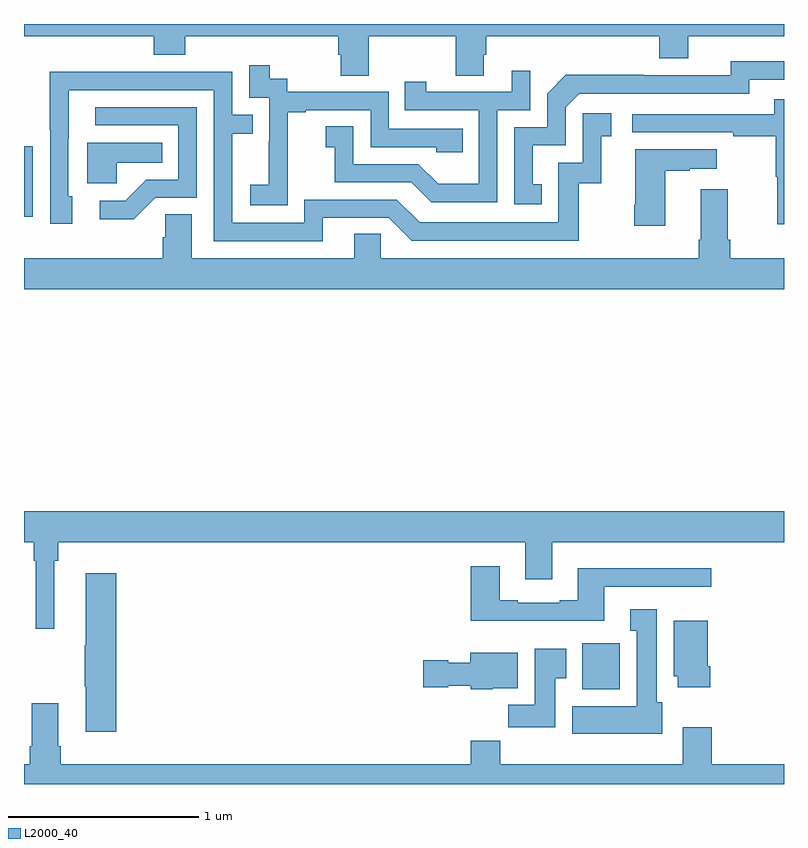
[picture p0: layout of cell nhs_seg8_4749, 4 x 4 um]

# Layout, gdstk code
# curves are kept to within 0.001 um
import gdstk
lib = gdstk.Library(unit=1e-6, precision=1e-09)
def R(c, l, rs):  # rectangles x0, y0, x1, y1
    for r in rs: c.add(gdstk.rectangle(r[:2], r[2:], *l))
def P(c, l, *ps):  # polygons
    for p in ps: c.add(gdstk.Polygon(p, *l))
L2000_40 = (2000, 40)

nhs_seg8_4749 = lib.new_cell('nhs_seg8_4749')
R(nhs_seg8_4749, L2000_40, [(401.939,1110.398,402.136,1110.64), (399,1112.886,399.045,1113.256)])
P(nhs_seg8_4749, L2000_40, [(400.815,1113.836),(401.272,1113.836),(401.272,1113.628),(401.419,1113.628),(401.419,1113.738),(401.432,1113.738),(401.432,1113.836),(402.344,1113.836),(402.344,1113.719),(402.496,1113.719),(402.496,1113.836),(403,1113.836),(403,1113.9),(399,1113.9),(399,1113.836),(399.683,1113.836),(399.683,1113.737),(399.848,1113.737),(399.848,1113.836),(400.655,1113.836),(400.655,1113.738),(400.667,1113.738),(400.667,1113.628),(400.815,1113.628)],
  [(401.726,1113.057),(401.677,1113.057),(401.677,1113.261),(401.85,1113.261),(401.85,1113.462),(401.922,1113.534),(402.816,1113.534),(402.816,1113.606),(403,1113.606),(403,1113.703),(402.72,1113.703),(402.72,1113.63),(402.26,1113.63),(402.26,1113.632),(401.852,1113.632),(401.754,1113.534),(401.754,1113.357),(401.58,1113.357),(401.58,1112.952),(401.726,1112.952)],
  [(400.389,1113.151),(400.388,1113.151),(400.388,1113.435),(400.483,1113.435),(400.483,1113.447),(400.824,1113.447),(400.824,1113.252),(401.169,1113.252),(401.169,1113.225),(401.309,1113.225),(401.309,1113.348),(400.92,1113.348),(400.92,1113.543),(400.386,1113.543),(400.386,1113.612),(400.294,1113.612),(400.294,1113.682),(400.185,1113.682),(400.185,1113.513),(400.29,1113.513),(400.29,1113.284),(400.289,1113.284),(400.289,1113.055),(400.191,1113.055),(400.191,1112.945),(400.389,1112.945)],
  [(401.49,1113.447),(401.664,1113.447),(401.664,1113.655),(401.567,1113.655),(401.567,1113.543),(401.116,1113.543),(401.116,1113.595),(401.005,1113.595),(401.005,1113.447),(401.394,1113.447),(401.394,1113.058),(401.18,1113.058),(401.076,1113.162),(400.734,1113.162),(400.734,1113.361),(400.587,1113.361),(400.587,1113.251),(400.636,1113.251),(400.636,1113.066),(401.039,1113.066),(401.144,1112.961),(401.49,1112.961)],
  [(400.573,1112.88),(400.92,1112.88),(401.04,1112.76),(401.92,1112.76),(401.92,1113.063),(402.038,1113.063),(402.038,1113.309),(402.091,1113.309),(402.091,1113.43),(401.94,1113.43),(401.94,1113.171),(401.811,1113.171),(401.811,1112.856),(401.082,1112.856),(400.962,1112.976),(400.476,1112.976),(400.476,1112.853),(400.095,1112.853),(400.095,1113.322),(400.205,1113.322),(400.205,1113.423),(400.095,1113.423),(400.095,1113.648),(399.599,1113.648),(399.599,1113.65),(399.136,1113.65),(399.136,1113.343),(399.138,1113.343),(399.138,1112.85),(399.253,1112.85),(399.253,1112.994),(399.234,1112.994),(399.235,1113.552),(399.999,1113.552),(399.999,1112.757),(400.573,1112.757)],
  [(403,1113.505),(402.949,1113.505),(402.949,1113.426),(402.201,1113.426),(402.201,1113.33),(402.733,1113.33),(402.733,1113.31),(402.957,1113.31),(402.957,1113.096),(402.964,1113.096),(402.964,1112.847),(403,1112.847)],
  [(399.69,1112.985),(399.909,1112.985),(399.909,1113.462),(399.375,1113.462),(399.375,1113.366),(399.813,1113.366),(399.813,1113.081),(399.644,1113.081),(399.533,1112.97),(399.399,1112.97),(399.399,1112.873),(399.577,1112.873)],
  [(399.489,1113.17),(399.728,1113.17),(399.728,1113.274),(399.332,1113.274),(399.332,1113.062),(399.489,1113.062)],
  [(402.376,1113.127),(402.503,1113.127),(402.503,1113.137),(402.646,1113.137),(402.646,1113.241),(402.218,1113.241),(402.218,1112.95),(402.211,1112.95),(402.211,1112.838),(402.376,1112.838)],
  [(403,1112.668),(402.716,1112.668),(402.716,1112.764),(402.703,1112.764),(402.703,1113.031),(402.563,1113.031),(402.563,1112.764),(402.551,1112.764),(402.551,1112.668),(400.878,1112.668),(400.878,1112.795),(400.739,1112.795),(400.739,1112.668),(399.883,1112.668),(399.883,1112.9),(399.744,1112.9),(399.744,1112.777),(399.731,1112.777),(399.731,1112.668),(399,1112.668),(399,1112.504),(403,1112.504)],
  [(399.16,1111.076),(399.179,1111.076),(399.179,1111.172),(401.639,1111.172),(401.639,1110.978),(401.779,1110.978),(401.779,1111.172),(403,1111.172),(403,1111.336),(399,1111.336),(399,1111.172),(399.05,1111.172),(399.05,1111.076),(399.063,1111.076),(399.063,1110.717),(399.16,1110.717)],
  [(402.055,1110.939),(402.616,1110.939),(402.616,1111.036),(401.915,1111.036),(401.915,1110.868),(401.819,1110.868),(401.819,1110.855),(401.599,1110.855),(401.599,1110.868),(401.503,1110.868),(401.503,1111.045),(401.351,1111.045),(401.351,1110.758),(402.055,1110.758)],
  [(399.485,1111.009),(399.326,1111.009),(399.326,1110.629),(399.319,1110.629),(399.319,1110.412),(399.326,1110.412),(399.326,1110.174),(399.485,1110.174)],
  [(402.358,1110.33),(402.331,1110.33),(402.331,1110.82),(402.191,1110.82),(402.191,1110.707),(402.224,1110.707),(402.224,1110.31),(401.885,1110.31),(401.885,1110.164),(402.358,1110.164)],
  [(402.611,1110.52),(402.598,1110.52),(402.598,1110.76),(402.419,1110.76),(402.419,1110.468),(402.44,1110.468),(402.44,1110.408),(402.611,1110.408)],
  [(401.797,1110.457),(401.854,1110.457),(401.854,1110.613),(401.687,1110.613),(401.687,1110.316),(401.548,1110.316),(401.548,1110.198),(401.797,1110.198)],
  [(401.466,1110.404),(401.599,1110.404),(401.599,1110.592),(401.348,1110.592),(401.348,1110.538),(401.232,1110.538),(401.232,1110.551),(401.1,1110.551),(401.1,1110.409),(401.232,1110.409),(401.232,1110.416),(401.352,1110.416),(401.352,1110.398),(401.466,1110.398)],
  [(403,1110.004),(402.62,1110.004),(402.62,1110.199),(402.467,1110.199),(402.467,1110.004),(401.507,1110.004),(401.507,1110.128),(401.351,1110.128),(401.351,1110.004),(399.194,1110.004),(399.194,1110.1),(399.181,1110.1),(399.181,1110.325),(399.041,1110.325),(399.041,1110.1),(399.029,1110.1),(399.029,1110.004),(399,1110.004),(399,1109.9),(403,1109.9)])

lib.write_gds('nhs_seg8_4749.gds')
